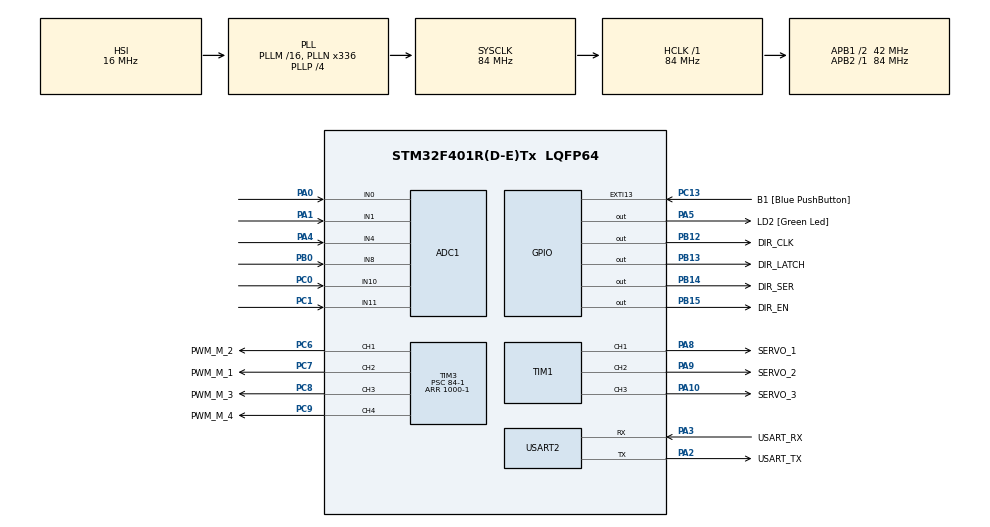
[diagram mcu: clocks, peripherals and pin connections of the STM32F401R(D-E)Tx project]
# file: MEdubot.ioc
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ADC1.Channel-0\#ChannelRegularConversion=ADC_CHANNEL_0
ADC1.Channel-1\#ChannelRegularConversion=ADC_CHANNEL_1
ADC1.Channel-2\#ChannelRegularConversion=ADC_CHANNEL_4
ADC1.Channel-3\#ChannelRegularConversion=ADC_CHANNEL_8
ADC1.Channel-4\#ChannelRegularConversion=ADC_CHANNEL_10
ADC1.Channel-5\#ChannelRegularConversion=ADC_CHANNEL_11
ADC1.ContinuousConvMode=DISABLE
ADC1.NbrOfConversion=6
ADC1.NbrOfConversionFlag=1
ADC1.Rank-0\#ChannelRegularConversion=1
ADC1.Rank-1\#ChannelRegularConversion=2
ADC1.Rank-2\#ChannelRegularConversion=3
ADC1.Rank-3\#ChannelRegularConversion=4
ADC1.Rank-4\#ChannelRegularConversion=5
ADC1.Rank-5\#ChannelRegularConversion=6
ADC1.SamplingTime-0\#ChannelRegularConversion=ADC_SAMPLETIME_3CYCLES
ADC1.SamplingTime-1\#ChannelRegularConversion=ADC_SAMPLETIME_3CYCLES
ADC1.SamplingTime-2\#ChannelRegularConversion=ADC_SAMPLETIME_3CYCLES
ADC1.SamplingTime-3\#ChannelRegularConversion=ADC_SAMPLETIME_3CYCLES
ADC1.SamplingTime-4\#ChannelRegularConversion=ADC_SAMPLETIME_3CYCLES
ADC1.SamplingTime-5\#ChannelRegularConversion=ADC_SAMPLETIME_3CYCLES
ADC1.master=1
Dma.ADC1.0.Direction=DMA_PERIPH_TO_MEMORY
Dma.ADC1.0.FIFOMode=DMA_FIFOMODE_DISABLE
Dma.ADC1.0.Instance=DMA2_Stream0
Dma.ADC1.0.MemDataAlignment=DMA_MDATAALIGN_HALFWORD
Dma.ADC1.0.MemInc=DMA_MINC_ENABLE
Dma.ADC1.0.Mode=DMA_NORMAL
Dma.ADC1.0.PeriphDataAlignment=DMA_PDATAALIGN_HALFWORD
Dma.ADC1.0.PeriphInc=DMA_PINC_DISABLE
Dma.ADC1.0.Priority=DMA_PRIORITY_LOW
Dma.Request0=ADC1
Mcu.Family=STM32F4
Mcu.Name=STM32F401R(D-E)Tx
Mcu.Package=LQFP64
NVIC.DMA2_Stream0_IRQn=true\:0\:0\:false\:false\:true\:false\:true\:true
NVIC.EXTI15_10_IRQn=true\:0\:0\:false\:false\:true\:true\:true\:true
NVIC.PriorityGroup=NVIC_PRIORITYGROUP_0
PA0-WKUP.Signal=ADCx_IN0
PA1.Signal=ADCx_IN1
PA10.GPIO_Label=SERVO_3
PA10.Signal=S_TIM1_CH3
PA13.GPIO_Label=TMS
PA13.Mode=Serial_Wire
PA13.Signal=SYS_JTMS-SWDIO
PA14.GPIO_Label=TCK
PA14.Mode=Serial_Wire
PA14.Signal=SYS_JTCK-SWCLK
PA2.GPIO_Label=USART_TX
PA2.GPIO_Mode=GPIO_MODE_AF_PP
PA2.GPIO_PuPd=GPIO_NOPULL
PA2.GPIO_Speed=GPIO_SPEED_FREQ_LOW
PA2.Mode=Asynchronous
PA2.Signal=USART2_TX
PA3.GPIO_Label=USART_RX
PA3.GPIO_Mode=GPIO_MODE_AF_PP
PA3.GPIO_PuPd=GPIO_NOPULL
PA3.GPIO_Speed=GPIO_SPEED_FREQ_LOW
PA3.Mode=Asynchronous
PA3.Signal=USART2_RX
PA4.Signal=ADCx_IN4
PA5.GPIO_Label=LD2 [Green Led]
PA5.GPIO_Mode=GPIO_MODE_OUTPUT_PP
PA5.GPIO_PuPd=GPIO_NOPULL
PA5.GPIO_Speed=GPIO_SPEED_FREQ_LOW
PA5.Signal=GPIO_Output
PA8.GPIO_Label=SERVO_1
PA8.Signal=S_TIM1_CH1
PA9.GPIO_Label=SERVO_2
PA9.Signal=S_TIM1_CH2
PB0.Signal=ADCx_IN8
PB12.GPIO_Label=DIR_CLK
PB12.Signal=GPIO_Output
PB13.GPIO_Label=DIR_LATCH
PB13.Signal=GPIO_Output
PB14.GPIO_Label=DIR_SER
PB14.Signal=GPIO_Output
PB15.GPIO_Label=DIR_EN
PB15.Signal=GPIO_Output
PC0.Signal=ADCx_IN10
PC1.Signal=ADCx_IN11
PC13-ANTI_TAMP.GPIO_Label=B1 [Blue PushButton]
PC13-ANTI_TAMP.GPIO_ModeDefaultEXTI=GPIO_MODE_IT_FALLING
PC13-ANTI_TAMP.GPIO_PuPd=GPIO_NOPULL
PC13-ANTI_TAMP.Signal=GPXTI13
PC14-OSC32_IN.Mode=LSE-External-Oscillator
PC14-OSC32_IN.Signal=RCC_OSC32_IN
PC15-OSC32_OUT.Mode=LSE-External-Oscillator
PC15-OSC32_OUT.Signal=RCC_OSC32_OUT
PC6.GPIO_Label=PWM_M_2
PC6.Signal=S_TIM3_CH1
PC7.GPIO_Label=PWM_M_1
PC7.Signal=S_TIM3_CH2
PC8.GPIO_Label=PWM_M_3
PC8.Signal=S_TIM3_CH3
PC9.GPIO_Label=PWM_M_4
PC9.Signal=S_TIM3_CH4
PH0\ -\ OSC_IN.Mode=HSE-External-Clock-Source
PH0\ -\ OSC_IN.Signal=RCC_OSC_IN
PH1\ -\ OSC_OUT.Mode=HSE-External-Clock-Source
PH1\ -\ OSC_OUT.Signal=RCC_OSC_OUT
ProjectManager.HeapSize=0x200
ProjectManager.StackSize=0x400
ProjectManager.TargetToolchain=STM32CubeIDE
RCC.48MHZClocksFreq_Value=48000000
RCC.AHBFreq_Value=84000000
RCC.APB1CLKDivider=RCC_HCLK_DIV2
RCC.APB1Freq_Value=42000000
RCC.APB1TimFreq_Value=84000000
RCC.APB2Freq_Value=84000000
RCC.APB2TimFreq_Value=84000000
RCC.CortexFreq_Value=84000000
RCC.HCLKFreq_Value=84000000
RCC.HSE_VALUE=8000000
RCC.HSI_VALUE=16000000
RCC.PLLN=336
RCC.PLLP=RCC_PLLP_DIV4
RCC.PLLQ=7
RCC.SYSCLKFreq_VALUE=84000000
RCC.SYSCLKSource=RCC_SYSCLKSOURCE_PLLCLK
RCC.VCOOutputFreq_Value=336000000
SH.ADCx_IN0.0=ADC1_IN0,IN0
SH.ADCx_IN1.0=ADC1_IN1,IN1
SH.ADCx_IN10.0=ADC1_IN10,IN10
SH.ADCx_IN11.0=ADC1_IN11,IN11
SH.ADCx_IN4.0=ADC1_IN4,IN4
SH.ADCx_IN8.0=ADC1_IN8,IN8
SH.S_TIM1_CH1.0=TIM1_CH1,PWM Generation1 CH1
SH.S_TIM1_CH2.0=TIM1_CH2,PWM Generation2 CH2
SH.S_TIM1_CH3.0=TIM1_CH3,PWM Generation3 CH3
SH.S_TIM3_CH1.0=TIM3_CH1,PWM Generation1 CH1
SH.S_TIM3_CH2.0=TIM3_CH2,PWM Generation2 CH2
SH.S_TIM3_CH3.0=TIM3_CH3,PWM Generation3 CH3
SH.S_TIM3_CH4.0=TIM3_CH4,PWM Generation4 CH4
TIM1.Channel-PWM\ Generation1\ CH1=TIM_CHANNEL_1
TIM1.Channel-PWM\ Generation2\ CH2=TIM_CHANNEL_2
TIM1.Channel-PWM\ Generation3\ CH3=TIM_CHANNEL_3
TIM3.Channel-PWM\ Generation1\ CH1=TIM_CHANNEL_1
TIM3.Channel-PWM\ Generation2\ CH2=TIM_CHANNEL_2
TIM3.Channel-PWM\ Generation3\ CH3=TIM_CHANNEL_3
TIM3.Channel-PWM\ Generation4\ CH4=TIM_CHANNEL_4
TIM3.Period=1000-1
TIM3.Prescaler=84-1
USART2.VirtualMode=VM_ASYNC
VP_TIM1_VS_ClockSourceINT.Mode=Internal
VP_TIM2_VS_ClockSourceINT.Mode=Internal
VP_TIM3_VS_ClockSourceINT.Mode=Internal
VP_TIM4_VS_ClockSourceINT.Mode=Internal
board=NUCLEO-F401RE

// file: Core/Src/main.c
/* USER CODE BEGIN Header */
/**
 ******************************************************************************
 * @file           : main.c
 * @brief          : Main program body
 ******************************************************************************
 * @attention
 *
 * Copyright (c) 2024 STMicroelectronics.
 * All rights reserved.
 *
 * This software is licensed under terms that can be found in the LICENSE file
 * in the root directory of this software component.
 * If no LICENSE file comes with this software, it is provided AS-IS.
 *
 ******************************************************************************
 */
/* USER CODE END Header */
#include "main.h"

/* USER CODE BEGIN PD */
#define MAX_SPEED 1000.0
#define MOTOR_DIR_FORWARD 0
#define MOTOR_DIR_STOP 1
#define MOTOR_DIR_BACK 2
/* USER CODE END PD */

ADC_HandleTypeDef hadc1;
DMA_HandleTypeDef hdma_adc1;

TIM_HandleTypeDef htim1;
TIM_HandleTypeDef htim2;
TIM_HandleTypeDef htim3;
TIM_HandleTypeDef htim4;

UART_HandleTypeDef huart2;

/* USER CODE BEGIN PV */
float Kp = 0.1;
float Ki = 0.04;
float Kd = 0.02;
int P, I, D, R;
int error;
int lastError;
int errors[20];
int mode = 0;
uint16_t adc[6]={0};
uint16_t blackValues[3] = {0};
uint16_t whiteValues[3] = {0};
uint16_t triggerValues[3] = {0};
/* USER CODE END PV */

void SystemClock_Config(void);
static void MX_GPIO_Init(void);
static void MX_DMA_Init(void);
static void MX_USART2_UART_Init(void);
static void MX_TIM2_Init(void);
static void MX_TIM3_Init(void);
static void MX_TIM4_Init(void);
static void MX_TIM1_Init(void);
static void MX_ADC1_Init(void);

/* USER CODE BEGIN 0 */
void setDirection(uint8_t left, uint8_t right) {
	uint8_t dirMessage = 0b00000000;
	uint8_t i = 0;
	if (left ==MOTOR_DIR_FORWARD) {
		dirMessage |= 0b00010000; //hátra 0b00100000
	}
	if (left == MOTOR_DIR_BACK) {
		dirMessage |= 0b00100000;
	}
	if (left == MOTOR_DIR_STOP) {
		dirMessage |= 0b00000000;
	}
	if (right ==MOTOR_DIR_FORWARD) {
		dirMessage |= 0b10000000; //hátra: 0b00000010
	}
	if (right == MOTOR_DIR_BACK) {
		dirMessage |= 0b00000010;
	}
	if (right == MOTOR_DIR_STOP) {
		dirMessage |= 0b00000000;
	}

	HAL_GPIO_WritePin(DIR_EN_GPIO_Port, DIR_EN_Pin, 0);
	HAL_GPIO_WritePin(DIR_LATCH_GPIO_Port, DIR_LATCH_Pin, 0);
	for (i = 0; i < 8; ++i) {

		if ((dirMessage) & (1 << (i))) {
			HAL_GPIO_WritePin(DIR_SER_GPIO_Port, DIR_SER_Pin, 1);
		} else {
			HAL_GPIO_WritePin(DIR_SER_GPIO_Port, DIR_SER_Pin, 0);
		}
		HAL_Delay(1);
		HAL_GPIO_WritePin(DIR_CLK_GPIO_Port, DIR_CLK_Pin, 1);
		HAL_Delay(1);
		HAL_GPIO_WritePin(DIR_CLK_GPIO_Port, DIR_CLK_Pin, 0);

	}
	HAL_Delay(1);
	HAL_GPIO_WritePin(DIR_LATCH_GPIO_Port, DIR_LATCH_Pin, 1);
	HAL_Delay(1);
	HAL_GPIO_WritePin(DIR_LATCH_GPIO_Port, DIR_LATCH_Pin, 0);

}

uint8_t getDirectionFromSpeed(int32_t speed) {
	uint8_t retValue = MOTOR_DIR_STOP;
	if (speed > 0) {
		retValue = MOTOR_DIR_FORWARD;
	} else if (speed < 0) {
		retValue = MOTOR_DIR_BACK;
	}
	return retValue;
}

uint16_t getPWMFromSpeed(int32_t speed) {
	if (speed < 0) {
		speed = speed * -1;
	}
	if (speed > MAX_SPEED) {
		speed = MAX_SPEED;
	}
	return (speed / MAX_SPEED) * htim3.Instance->ARR;
}
void setSpeed(int16_t left, int16_t right) {
	uint8_t dirLeft = getDirectionFromSpeed(left);
	uint8_t dirRight = getDirectionFromSpeed(right);
	setDirection(dirLeft, dirRight);
	htim3.Instance->CCR2 = getPWMFromSpeed(left);
	htim3.Instance->CCR4 = getPWMFromSpeed(right);
}

void past_errors (int error)
{
  for (int i = 19; i > 0; i--)
      errors[i] = errors[i-1];
  errors[0] = error;
}

int errors_sum ()
{
  int sum = 0;
  for (int i = 0; i < 20; i++)
  {
      sum += errors[i];
  }
  return sum;
}

void PID_control() {
	// 0 amelyik a vonalat érzékeli
	if(adc[0] >= triggerValues[0] && adc[1] < triggerValues[1] && adc[2] < triggerValues[2]){  // 0 1 1
		error = 200;
	}
	if(adc[0] < triggerValues[0] && adc[1] >= triggerValues[1] && adc[2] < triggerValues[2]){  // 1 0 1
			error = 0;
		}
	if(adc[0] < triggerValues[0] && adc[1] < triggerValues[1] && adc[2] >= triggerValues[2]){  // 1 1 0
			error = -200;
		}
	if(adc[0] >= triggerValues[0] && adc[1] >= triggerValues[1] && adc[2] < triggerValues[2]){  // 0 0 1
			error = 100;
		}
	if(adc[0] < triggerValues[0] && adc[1] >= triggerValues[1] && adc[2] >= triggerValues[2]){  // 1 0 0
			error = -100;
		}
	if(adc[0] >= triggerValues[0] && adc[1] < triggerValues[1] && adc[2] >= triggerValues[2]){  // 0 1 0
			error = 300;
		}
	if(adc[0] >= triggerValues[0] && adc[1] >= triggerValues[1] && adc[2] >= triggerValues[2]){  // 0 0 0
			error = 0;
		}
	if(adc[0] < triggerValues[0] && adc[1] < triggerValues[1] && adc[2] < triggerValues[2]){  // 1 1 1
				error = 300;
			}

	past_errors(error);

  P = error;
  I = errors_sum();
  D = error - lastError;
  lastError = error;

  int motorspeed = P*Kp + I*Ki + D*Kd;

  int motorspeedl = 500 - motorspeed;
  int motorspeedr = 500 + motorspeed;

  setSpeed(motorspeedl, motorspeedr);
}

void HAL_GPIO_EXTI_Callback(uint16_t GPIO_Pin){
	mode += 1;
	if(mode > 3){
		mode = 0;
	}
	if(mode == 1){
		for(i = 0; i < 3; i++){
			blackValues[i] = adc[i];
		}
	}

	if(mode == 2){
		for(i = 0; i < 3; i++){
			whiteValues[i] = adc[i];
			triggerValues[i] = whiteValues[i] + ((blackValues[i] - whiteValues[i]) / 2 );
		}
	}
}
/* USER CODE END 0 */

int main(void)
{

  /* MCU Configuration--------------------------------------------------------*/

  /* Reset of all peripherals, Initializes the Flash interface and the Systick. */
  HAL_Init();

  /* Configure the system clock */
  SystemClock_Config();

  /* Initialize all configured peripherals */
  MX_GPIO_Init();
  MX_DMA_Init();
  MX_USART2_UART_Init();
  MX_TIM2_Init();
  MX_TIM3_Init();
  MX_TIM4_Init();
  MX_TIM1_Init();
  MX_ADC1_Init();
  /* USER CODE BEGIN 2 */
	HAL_TIM_PWM_Start(&htim3, TIM_CHANNEL_2);
	HAL_TIM_PWM_Start(&htim3, TIM_CHANNEL_4);
	setSpeed(0, 0);
  /* USER CODE END 2 */

  /* Infinite loop */
  /* USER CODE BEGIN WHILE */
	while (1) {
		HAL_ADC_Start_DMA(&hadc1, adc, 6);
		if(mode == 3){
			PID_control();
		}
		HAL_Delay(10);

    /* USER CODE END WHILE */

	}
}

void SystemClock_Config(void)
{
  RCC_OscInitTypeDef RCC_OscInitStruct = {0};
  RCC_ClkInitTypeDef RCC_ClkInitStruct = {0};

  /** Configure the main internal regulator output voltage
  */
  __HAL_RCC_PWR_CLK_ENABLE();
  __HAL_PWR_VOLTAGESCALING_CONFIG(PWR_REGULATOR_VOLTAGE_SCALE2);

  /** Initializes the RCC Oscillators according to the specified parameters
  * in the RCC_OscInitTypeDef structure.
  */
  RCC_OscInitStruct.OscillatorType = RCC_OSCILLATORTYPE_HSI;
  RCC_OscInitStruct.HSIState = RCC_HSI_ON;
  RCC_OscInitStruct.HSICalibrationValue = RCC_HSICALIBRATION_DEFAULT;
  RCC_OscInitStruct.PLL.PLLState = RCC_PLL_ON;
  RCC_OscInitStruct.PLL.PLLSource = RCC_PLLSOURCE_HSI;
  RCC_OscInitStruct.PLL.PLLM = 16;
  RCC_OscInitStruct.PLL.PLLN = 336;
  RCC_OscInitStruct.PLL.PLLP = RCC_PLLP_DIV4;
  RCC_OscInitStruct.PLL.PLLQ = 7;
  if (HAL_RCC_OscConfig(&RCC_OscInitStruct) != HAL_OK)
  {
    Error_Handler();
  }

  /** Initializes the CPU, AHB and APB buses clocks
  */
  RCC_ClkInitStruct.ClockType = RCC_CLOCKTYPE_HCLK|RCC_CLOCKTYPE_SYSCLK
                              |RCC_CLOCKTYPE_PCLK1|RCC_CLOCKTYPE_PCLK2;
  RCC_ClkInitStruct.SYSCLKSource = RCC_SYSCLKSOURCE_PLLCLK;
  RCC_ClkInitStruct.AHBCLKDivider = RCC_SYSCLK_DIV1;
  RCC_ClkInitStruct.APB1CLKDivider = RCC_HCLK_DIV2;
  RCC_ClkInitStruct.APB2CLKDivider = RCC_HCLK_DIV1;

  if (HAL_RCC_ClockConfig(&RCC_ClkInitStruct, FLASH_LATENCY_2) != HAL_OK)
  {
    Error_Handler();
  }
}

static void MX_ADC1_Init(void)
{

  ADC_ChannelConfTypeDef sConfig = {0};

  /** Configure the global features of the ADC (Clock, Resolution, Data Alignment and number of conversion)
  */
  hadc1.Instance = ADC1;
  hadc1.Init.ClockPrescaler = ADC_CLOCK_SYNC_PCLK_DIV4;
  hadc1.Init.Resolution = ADC_RESOLUTION_12B;
  hadc1.Init.ScanConvMode = ENABLE;
  hadc1.Init.ContinuousConvMode = DISABLE;
  hadc1.Init.DiscontinuousConvMode = DISABLE;
  hadc1.Init.ExternalTrigConvEdge = ADC_EXTERNALTRIGCONVEDGE_NONE;
  hadc1.Init.ExternalTrigConv = ADC_SOFTWARE_START;
  hadc1.Init.DataAlign = ADC_DATAALIGN_RIGHT;
  hadc1.Init.NbrOfConversion = 6;
  hadc1.Init.DMAContinuousRequests = DISABLE;
  hadc1.Init.EOCSelection = ADC_EOC_SINGLE_CONV;
  if (HAL_ADC_Init(&hadc1) != HAL_OK)
  {
    Error_Handler();
  }

  /** Configure for the selected ADC regular channel its corresponding rank in the sequencer and its sample time.
  */
  sConfig.Channel = ADC_CHANNEL_0;
  sConfig.Rank = 1;
  sConfig.SamplingTime = ADC_SAMPLETIME_3CYCLES;
  if (HAL_ADC_ConfigChannel(&hadc1, &sConfig) != HAL_OK)
  {
    Error_Handler();
  }

  /** Configure for the selected ADC regular channel its corresponding rank in the sequencer and its sample time.
  */
  sConfig.Channel = ADC_CHANNEL_1;
  sConfig.Rank = 2;
  if (HAL_ADC_ConfigChannel(&hadc1, &sConfig) != HAL_OK)
  {
    Error_Handler();
  }

  /** Configure for the selected ADC regular channel its corresponding rank in the sequencer and its sample time.
  */
  sConfig.Channel = ADC_CHANNEL_4;
  sConfig.Rank = 3;
  if (HAL_ADC_ConfigChannel(&hadc1, &sConfig) != HAL_OK)
  {
    Error_Handler();
  }

  /** Configure for the selected ADC regular channel its corresponding rank in the sequencer and its sample time.
  */
  sConfig.Channel = ADC_CHANNEL_8;
  sConfig.Rank = 4;
  if (HAL_ADC_ConfigChannel(&hadc1, &sConfig) != HAL_OK)
  {
    Error_Handler();
  }

  /** Configure for the selected ADC regular channel its corresponding rank in the sequencer and its sample time.
  */
  sConfig.Channel = ADC_CHANNEL_10;
  sConfig.Rank = 5;
  if (HAL_ADC_ConfigChannel(&hadc1, &sConfig) != HAL_OK)
  {
    Error_Handler();
  }

  /** Configure for the selected ADC regular channel its corresponding rank in the sequencer and its sample time.
  */
  sConfig.Channel = ADC_CHANNEL_11;
  sConfig.Rank = 6;
  if (HAL_ADC_ConfigChannel(&hadc1, &sConfig) != HAL_OK)
  {
    Error_Handler();
  }

}

static void MX_TIM1_Init(void)
{

  TIM_ClockConfigTypeDef sClockSourceConfig = {0};
  TIM_MasterConfigTypeDef sMasterConfig = {0};
  TIM_OC_InitTypeDef sConfigOC = {0};
  TIM_BreakDeadTimeConfigTypeDef sBreakDeadTimeConfig = {0};

  htim1.Instance = TIM1;
  htim1.Init.Prescaler = 0;
  htim1.Init.CounterMode = TIM_COUNTERMODE_UP;
  htim1.Init.Period = 65535;
  htim1.Init.ClockDivision = TIM_CLOCKDIVISION_DIV1;
  htim1.Init.RepetitionCounter = 0;
  htim1.Init.AutoReloadPreload = TIM_AUTORELOAD_PRELOAD_DISABLE;
  if (HAL_TIM_Base_Init(&htim1) != HAL_OK)
  {
    Error_Handler();
  }
  sClockSourceConfig.ClockSource = TIM_CLOCKSOURCE_INTERNAL;
  if (HAL_TIM_ConfigClockSource(&htim1, &sClockSourceConfig) != HAL_OK)
  {
    Error_Handler();
  }
  if (HAL_TIM_PWM_Init(&htim1) != HAL_OK)
  {
    Error_Handler();
  }
  sMasterConfig.MasterOutputTrigger = TIM_TRGO_RESET;
  sMasterConfig.MasterSlaveMode = TIM_MASTERSLAVEMODE_DISABLE;
  if (HAL_TIMEx_MasterConfigSynchronization(&htim1, &sMasterConfig) != HAL_OK)
  {
    Error_Handler();
  }
  sConfigOC.OCMode = TIM_OCMODE_PWM1;
  sConfigOC.Pulse = 0;
  sConfigOC.OCPolarity = TIM_OCPOLARITY_HIGH;
  sConfigOC.OCNPolarity = TIM_OCNPOLARITY_HIGH;
  sConfigOC.OCFastMode = TIM_OCFAST_DISABLE;
  sConfigOC.OCIdleState = TIM_OCIDLESTATE_RESET;
  sConfigOC.OCNIdleState = TIM_OCNIDLESTATE_RESET;
  if (HAL_TIM_PWM_ConfigChannel(&htim1, &sConfigOC, TIM_CHANNEL_1) != HAL_OK)
  {
    Error_Handler();
  }
  if (HAL_TIM_PWM_ConfigChannel(&htim1, &sConfigOC, TIM_CHANNEL_2) != HAL_OK)
  {
    Error_Handler();
  }
  if (HAL_TIM_PWM_ConfigChannel(&htim1, &sConfigOC, TIM_CHANNEL_3) != HAL_OK)
  {
    Error_Handler();
  }
  sBreakDeadTimeConfig.OffStateRunMode = TIM_OSSR_DISABLE;
  sBreakDeadTimeConfig.OffStateIDLEMode = TIM_OSSI_DISABLE;
  sBreakDeadTimeConfig.LockLevel = TIM_LOCKLEVEL_OFF;
  sBreakDeadTimeConfig.DeadTime = 0;
  sBreakDeadTimeConfig.BreakState = TIM_BREAK_DISABLE;
  sBreakDeadTimeConfig.BreakPolarity = TIM_BREAKPOLARITY_HIGH;
  sBreakDeadTimeConfig.AutomaticOutput = TIM_AUTOMATICOUTPUT_DISABLE;
  if (HAL_TIMEx_ConfigBreakDeadTime(&htim1, &sBreakDeadTimeConfig) != HAL_OK)
  {
    Error_Handler();
  }
  HAL_TIM_MspPostInit(&htim1);

}

static void MX_TIM2_Init(void)
{

  TIM_ClockConfigTypeDef sClockSourceConfig = {0};
  TIM_MasterConfigTypeDef sMasterConfig = {0};

  htim2.Instance = TIM2;
  htim2.Init.Prescaler = 0;
  htim2.Init.CounterMode = TIM_COUNTERMODE_UP;
  htim2.Init.Period = 4294967295;
  htim2.Init.ClockDivision = TIM_CLOCKDIVISION_DIV1;
  htim2.Init.AutoReloadPreload = TIM_AUTORELOAD_PRELOAD_DISABLE;
  if (HAL_TIM_Base_Init(&htim2) != HAL_OK)
  {
    Error_Handler();
  }
  sClockSourceConfig.ClockSource = TIM_CLOCKSOURCE_INTERNAL;
  if (HAL_TIM_ConfigClockSource(&htim2, &sClockSourceConfig) != HAL_OK)
  {
    Error_Handler();
  }
  sMasterConfig.MasterOutputTrigger = TIM_TRGO_RESET;
  sMasterConfig.MasterSlaveMode = TIM_MASTERSLAVEMODE_DISABLE;
  if (HAL_TIMEx_MasterConfigSynchronization(&htim2, &sMasterConfig) != HAL_OK)
  {
    Error_Handler();
  }

}

static void MX_TIM3_Init(void)
{

  TIM_ClockConfigTypeDef sClockSourceConfig = {0};
  TIM_MasterConfigTypeDef sMasterConfig = {0};
  TIM_OC_InitTypeDef sConfigOC = {0};

  htim3.Instance = TIM3;
  htim3.Init.Prescaler = 84-1;
  htim3.Init.CounterMode = TIM_COUNTERMODE_UP;
  htim3.Init.Period = 1000-1;
  htim3.Init.ClockDivision = TIM_CLOCKDIVISION_DIV1;
  htim3.Init.AutoReloadPreload = TIM_AUTORELOAD_PRELOAD_DISABLE;
  if (HAL_TIM_Base_Init(&htim3) != HAL_OK)
  {
    Error_Handler();
  }
  sClockSourceConfig.ClockSource = TIM_CLOCKSOURCE_INTERNAL;
  if (HAL_TIM_ConfigClockSource(&htim3, &sClockSourceConfig) != HAL_OK)
  {
    Error_Handler();
  }
  if (HAL_TIM_PWM_Init(&htim3) != HAL_OK)
  {
    Error_Handler();
  }
  sMasterConfig.MasterOutputTrigger = TIM_TRGO_RESET;
  sMasterConfig.MasterSlaveMode = TIM_MASTERSLAVEMODE_DISABLE;
  if (HAL_TIMEx_MasterConfigSynchronization(&htim3, &sMasterConfig) != HAL_OK)
  {
    Error_Handler();
  }
  sConfigOC.OCMode = TIM_OCMODE_PWM1;
  sConfigOC.Pulse = 0;
  sConfigOC.OCPolarity = TIM_OCPOLARITY_HIGH;
  sConfigOC.OCFastMode = TIM_OCFAST_DISABLE;
  if (HAL_TIM_PWM_ConfigChannel(&htim3, &sConfigOC, TIM_CHANNEL_1) != HAL_OK)
  {
    Error_Handler();
  }
  if (HAL_TIM_PWM_ConfigChannel(&htim3, &sConfigOC, TIM_CHANNEL_2) != HAL_OK)
  {
    Error_Handler();
  }
  if (HAL_TIM_PWM_ConfigChannel(&htim3, &sConfigOC, TIM_CHANNEL_3) != HAL_OK)
  {
    Error_Handler();
  }
  if (HAL_TIM_PWM_ConfigChannel(&htim3, &sConfigOC, TIM_CHANNEL_4) != HAL_OK)
  {
    Error_Handler();
  }
  HAL_TIM_MspPostInit(&htim3);

}

static void MX_TIM4_Init(void)
{

  TIM_ClockConfigTypeDef sClockSourceConfig = {0};
  TIM_MasterConfigTypeDef sMasterConfig = {0};

  htim4.Instance = TIM4;
  htim4.Init.Prescaler = 0;
  htim4.Init.CounterMode = TIM_COUNTERMODE_UP;
  htim4.Init.Period = 65535;
  htim4.Init.ClockDivision = TIM_CLOCKDIVISION_DIV1;
  htim4.Init.AutoReloadPreload = TIM_AUTORELOAD_PRELOAD_DISABLE;
  if (HAL_TIM_Base_Init(&htim4) != HAL_OK)
  {
    Error_Handler();
  }
  sClockSourceConfig.ClockSource = TIM_CLOCKSOURCE_INTERNAL;
  if (HAL_TIM_ConfigClockSource(&htim4, &sClockSourceConfig) != HAL_OK)
  {
    Error_Handler();
  }
  sMasterConfig.MasterOutputTrigger = TIM_TRGO_RESET;
  sMasterConfig.MasterSlaveMode = TIM_MASTERSLAVEMODE_DISABLE;
  if (HAL_TIMEx_MasterConfigSynchronization(&htim4, &sMasterConfig) != HAL_OK)
  {
    Error_Handler();
  }

}

static void MX_USART2_UART_Init(void)
{

  huart2.Instance = USART2;
  huart2.Init.BaudRate = 115200;
  huart2.Init.WordLength = UART_WORDLENGTH_8B;
  huart2.Init.StopBits = UART_STOPBITS_1;
  huart2.Init.Parity = UART_PARITY_NONE;
  huart2.Init.Mode = UART_MODE_TX_RX;
  huart2.Init.HwFlowCtl = UART_HWCONTROL_NONE;
  huart2.Init.OverSampling = UART_OVERSAMPLING_16;
  if (HAL_UART_Init(&huart2) != HAL_OK)
  {
    Error_Handler();
  }

}

static void MX_DMA_Init(void)
{

  /* DMA controller clock enable */
  __HAL_RCC_DMA2_CLK_ENABLE();

  /* DMA interrupt init */
  /* DMA2_Stream0_IRQn interrupt configuration */
  HAL_NVIC_SetPriority(DMA2_Stream0_IRQn, 0, 0);
  HAL_NVIC_EnableIRQ(DMA2_Stream0_IRQn);

}

static void MX_GPIO_Init(void)
{
  GPIO_InitTypeDef GPIO_InitStruct = {0};

  /* GPIO Ports Clock Enable */
  __HAL_RCC_GPIOC_CLK_ENABLE();
  __HAL_RCC_GPIOH_CLK_ENABLE();
  __HAL_RCC_GPIOA_CLK_ENABLE();
  __HAL_RCC_GPIOB_CLK_ENABLE();

  /*Configure GPIO pin Output Level */
  HAL_GPIO_WritePin(LD2_GPIO_Port, LD2_Pin, GPIO_PIN_RESET);

  /*Configure GPIO pin Output Level */
  HAL_GPIO_WritePin(GPIOB, DIR_CLK_Pin|DIR_LATCH_Pin|DIR_SER_Pin|DIR_EN_Pin, GPIO_PIN_RESET);

  /*Configure GPIO pin : B1_Pin */
  GPIO_InitStruct.Pin = B1_Pin;
  GPIO_InitStruct.Mode = GPIO_MODE_IT_FALLING;
  GPIO_InitStruct.Pull = GPIO_NOPULL;
  HAL_GPIO_Init(B1_GPIO_Port, &GPIO_InitStruct);

  /*Configure GPIO pin : LD2_Pin */
  GPIO_InitStruct.Pin = LD2_Pin;
  GPIO_InitStruct.Mode = GPIO_MODE_OUTPUT_PP;
  GPIO_InitStruct.Pull = GPIO_NOPULL;
  GPIO_InitStruct.Speed = GPIO_SPEED_FREQ_LOW;
  HAL_GPIO_Init(LD2_GPIO_Port, &GPIO_InitStruct);

  /*Configure GPIO pins : DIR_CLK_Pin DIR_LATCH_Pin DIR_SER_Pin DIR_EN_Pin */
  GPIO_InitStruct.Pin = DIR_CLK_Pin|DIR_LATCH_Pin|DIR_SER_Pin|DIR_EN_Pin;
  GPIO_InitStruct.Mode = GPIO_MODE_OUTPUT_PP;
  GPIO_InitStruct.Pull = GPIO_NOPULL;
  GPIO_InitStruct.Speed = GPIO_SPEED_FREQ_LOW;
  HAL_GPIO_Init(GPIOB, &GPIO_InitStruct);

  /* EXTI interrupt init*/
  HAL_NVIC_SetPriority(EXTI15_10_IRQn, 0, 0);
  HAL_NVIC_EnableIRQ(EXTI15_10_IRQn);

}

void Error_Handler(void)
{
	__disable_irq();
	while (1) {
	}
}
